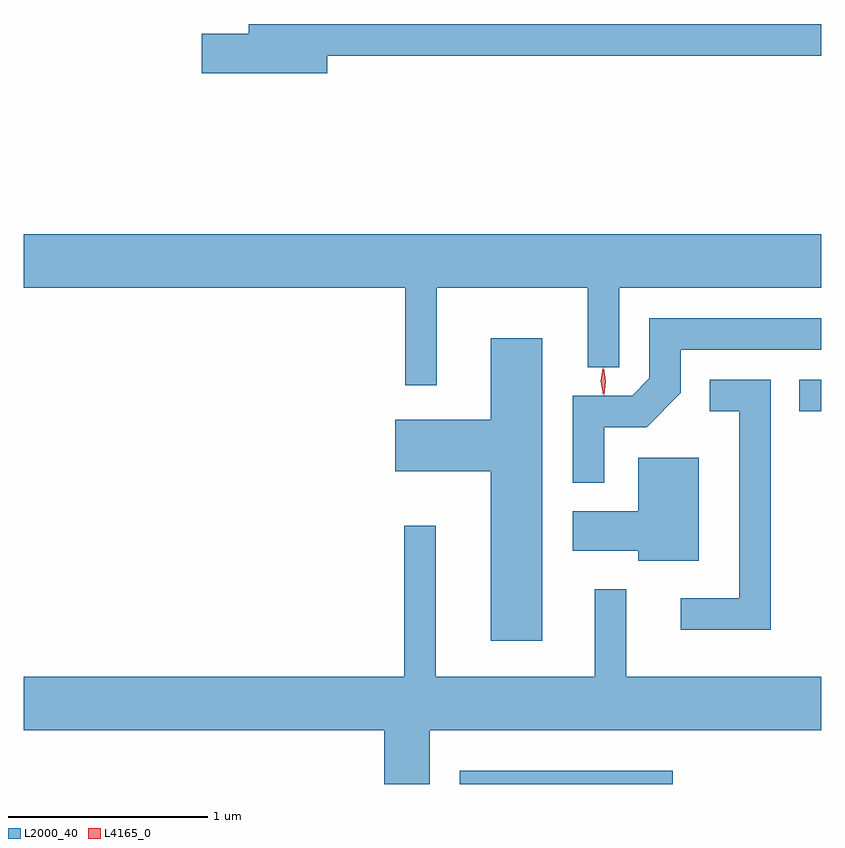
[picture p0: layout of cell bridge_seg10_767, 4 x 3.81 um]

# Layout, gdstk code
import gdstk
lib = gdstk.Library(unit=1e-6, precision=1e-09)
def R(c, l, rs):  # rectangles x0, y0, x1, y1
    for r in rs: c.add(gdstk.rectangle(r[:2], r[2:], *l))
def P(c, l, *ps):  # polygons
    for p in ps: c.add(gdstk.Polygon(p, *l))
L2000_40 = (2000, 40)
L4165_0 = (4165, 0)

bridge_seg10_767 = lib.new_cell('bridge_seg10_767')
R(bridge_seg10_767, L2000_40, [(404.521,2126.967,405.589,2127.034), (406.223,2128.836,406.333,2128.994)])
P(bridge_seg10_767, L2000_40, [(403.854,2130.621),(406.333,2130.621),(406.333,2130.779),(403.461,2130.779),(403.461,2130.729),(403.226,2130.729),(403.226,2130.531),(403.854,2130.531)],
  [(404.404,2129.456),(405.161,2129.456),(405.161,2129.058),(405.319,2129.058),(405.319,2129.456),(406.333,2129.456),(406.333,2129.724),(402.333,2129.724),(402.333,2129.456),(404.246,2129.456),(404.246,2128.968),(404.404,2128.968)],
  [(405.244,2128.756),(405.457,2128.756),(405.629,2128.929),(405.629,2129.146),(406.333,2129.146),(406.333,2129.304),(405.471,2129.304),(405.471,2129.002),(405.384,2128.914),(405.086,2128.914),(405.086,2128.478),(405.244,2128.478)],
  [(404.934,2129.204),(404.676,2129.204),(404.676,2128.794),(404.196,2128.794),(404.196,2128.536),(404.676,2128.536),(404.676,2127.686),(404.934,2127.686)],
  [(406.079,2128.994),(405.773,2128.994),(405.773,2128.836),(405.921,2128.836),(405.921,2127.899),(405.628,2127.899),(405.628,2127.741),(406.079,2127.741)],
  [(405.719,2128.604),(405.416,2128.604),(405.416,2128.334),(405.086,2128.334),(405.086,2128.136),(405.416,2128.136),(405.416,2128.086),(405.719,2128.086)],
  [(404.369,2127.236),(406.333,2127.236),(406.333,2127.504),(405.354,2127.504),(405.354,2127.943),(405.196,2127.943),(405.196,2127.504),(404.399,2127.504),(404.399,2128.263),(404.241,2128.263),(404.241,2127.504),(402.333,2127.504),(402.333,2127.236),(404.141,2127.236),(404.141,2126.967),(404.369,2126.967)])
P(bridge_seg10_767, L4165_0, [(405.239,2128.919),(405.239,2128.919),(405.228,2128.986),(405.236,2129.052),(405.236,2129.052),(405.237,2129.052),(405.248,2128.986),(405.24,2128.919)],
  [(405.244,2128.917),(405.244,2128.917),(405.233,2128.986),(405.241,2129.055),(405.242,2129.056),(405.242,2129.055),(405.253,2128.986),(405.245,2128.917)])

lib.write_gds('bridge_seg10_767.gds')
